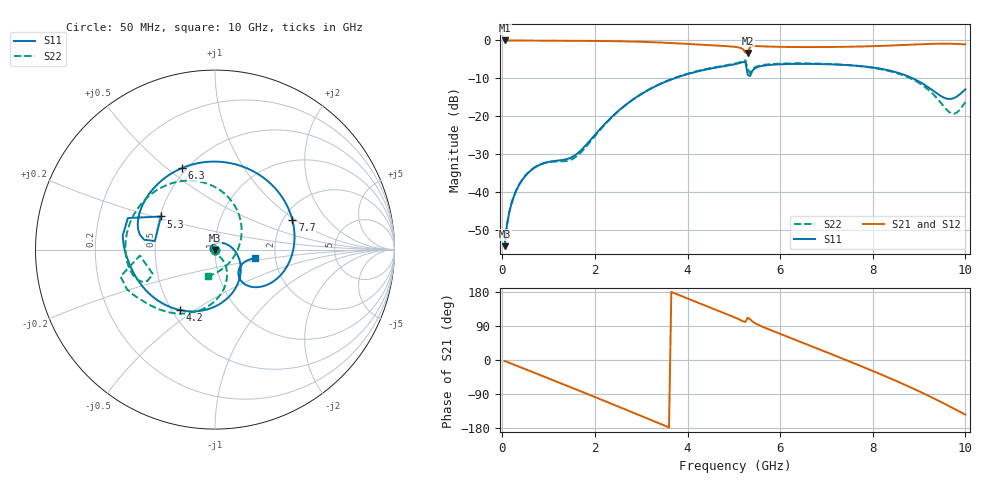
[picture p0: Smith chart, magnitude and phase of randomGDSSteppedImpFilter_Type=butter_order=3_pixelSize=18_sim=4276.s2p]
! freq	dB(S11)	phase(S11)	dB(S12)	phase(S12)
!  dB(S21)	phase(S21)	dB(S22)	phase(S22)
!S-par simulation data
#  GHz  S  DB  R 50
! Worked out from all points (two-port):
!   200 points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, 50 MHz to 10 GHz, reference 50 ohm
!   highest |S21| = 0.00 dB at 50 MHz (marker M1); lowest = -3.3 dB at 5.3 GHz (marker M2)
!   |S21| within 3 dB of the highest: start of sweep to 5.24 GHz; 5.31 GHz to end of sweep
!   lowest |S11| = -54.2 dB at 50 MHz (marker M3), VSWR 1.00, Z = 50 - j0.192 ohm
!   |S11| at or under -10 dB: start of sweep to 3.71 GHz; 8.866 GHz to end of sweep
!   |S22| runs from -54.0 to -5.2 dB; largest |S21 - S12| = 0
!   S11 on the Smith chart (normalised r, x): 50 MHz: 1.00, -0.00; 4.2 GHz: 0.55, -0.44; 5.3 GHz: 0.51, +0.21; 6.3 GHz: 0.47, +0.56; 7.7 GHz: 2.25, +0.94; 10 GHz: 1.56, -0.16
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0.05  -54.20 -79.7  -0.00 -2.5  -0.00 -2.5  -54.00 -77.7
0.1  -48.72 -89.9  -0.01 -4.9  -0.01 -4.9  -48.57 -85.1
0.2  -42.94 -101.4  -0.02 -9.8  -0.02 -9.8  -42.80 -91.6
0.5  -35.66 -127.2  -0.04 -24.4  -0.04 -24.4  -35.56 -101.3
1.15  -31.71 168.5  -0.07 -56.0  -0.07 -56.0  -31.92 -103.9
1.75  -28.32 73.6  -0.10 -85.3  -0.10 -85.3  -28.83 -64.7
2.5  -18.64 -7.3  -0.21 -122.6  -0.21 -122.6  -18.71 -57.9
3.4  -11.54 -70.1  -0.55 -167.9  -0.55 -167.9  -11.49 -86.0
4.2  -8.21 -119.8  -1.05 152.6  -1.05 152.6  -8.10 -115.2
5.05  -6.20 -173.6  -1.73 110.7  -1.73 110.7  -6.02 -146.4
5.25  -5.75 160.1  -3.17 100.4  -3.17 100.4  -5.24 -164.1
5.3  -9.04 148.5  -3.32 111.8  -3.32 111.8  -7.54 -175.4
5.35  -9.41 171.8  -1.66 107.6  -1.66 107.6  -8.59 -158.4
5.5  -7.07 165.2  -1.48 94.4  -1.48 94.4  -6.84 -157.5
6.3  -6.19 112.2  -1.73 54.5  -1.73 54.5  -6.03 177.3
6.7  -6.19 85.7  -1.75 35.3  -1.75 35.3  -6.06 165.1
7.7  -6.72 20.8  -1.61 -13.8  -1.61 -13.8  -6.75 132.4
8.35  -7.90 -17.1  -1.36 -47.0  -1.36 -47.0  -8.04 105.5
8.85  -9.91 -40.8  -1.10 -74.0  -1.10 -74.0  -10.19 78.3
9.25  -12.77 -50.1  -0.91 -97.2  -0.91 -97.2  -13.53 46.8
9.7  -15.37 -29.6  -0.87 -125.0  -0.87 -125.0  -19.24 -30.9
10  -12.88 -12.6  -1.04 -144.3  -1.04 -144.3  -16.25 -105.2
